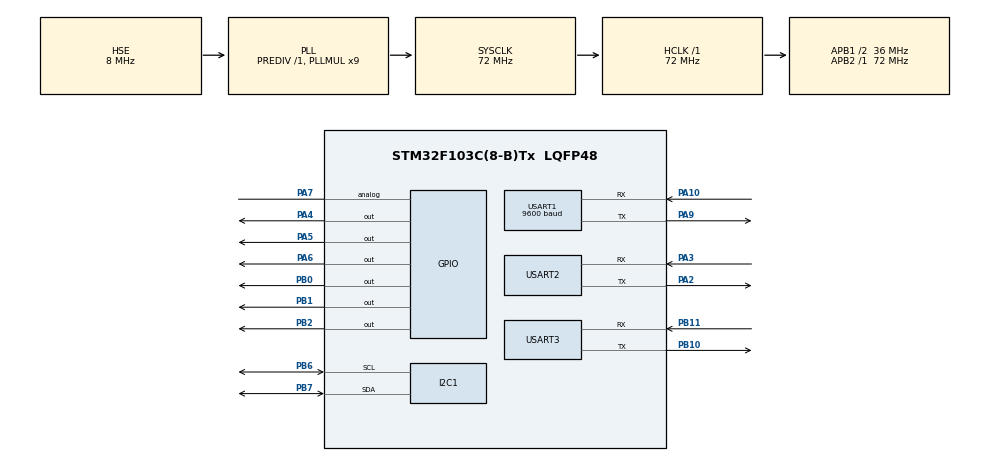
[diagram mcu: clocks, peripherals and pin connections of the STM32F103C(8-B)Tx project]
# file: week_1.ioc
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I2C1.I2C_Mode=I2C_Fast
Mcu.Family=STM32F1
Mcu.Name=STM32F103C(8-B)Tx
Mcu.Package=LQFP48
NVIC.PriorityGroup=NVIC_PRIORITYGROUP_4
NVIC.TIM1_UP_IRQn=true\:1\:0\:true\:false\:true\:true\:true
NVIC.USART1_IRQn=true\:2\:0\:true\:false\:true\:true\:true
PA10.Mode=Asynchronous
PA10.Signal=USART1_RX
PA13.Mode=Serial_Wire
PA13.Signal=SYS_JTMS-SWDIO
PA14.Mode=Serial_Wire
PA14.Signal=SYS_JTCK-SWCLK
PA2.Mode=Asynchronous
PA2.Signal=USART2_TX
PA3.Mode=Asynchronous
PA3.Signal=USART2_RX
PA4.Signal=GPIO_Output
PA5.Signal=GPIO_Output
PA6.Signal=GPIO_Output
PA7.Signal=GPIO_Analog
PA9.Mode=Asynchronous
PA9.Signal=USART1_TX
PB0.Signal=GPIO_Output
PB1.Signal=GPIO_Output
PB10.Mode=Asynchronous
PB10.Signal=USART3_TX
PB11.Mode=Asynchronous
PB11.Signal=USART3_RX
PB2.Signal=GPIO_Output
PB6.Mode=I2C
PB6.Signal=I2C1_SCL
PB7.Mode=I2C
PB7.Signal=I2C1_SDA
PC14-OSC32_IN.Mode=LSE-External-Oscillator
PC14-OSC32_IN.Signal=RCC_OSC32_IN
PC15-OSC32_OUT.Mode=LSE-External-Oscillator
PC15-OSC32_OUT.Signal=RCC_OSC32_OUT
PD0-OSC_IN.Mode=HSE-External-Oscillator
PD0-OSC_IN.Signal=RCC_OSC_IN
PD1-OSC_OUT.Mode=HSE-External-Oscillator
PD1-OSC_OUT.Signal=RCC_OSC_OUT
ProjectManager.HeapSize=0x200
ProjectManager.StackSize=0x400
ProjectManager.TargetToolchain=MDK-ARM V5.27
RCC.AHBFreq_Value=72000000
RCC.APB1CLKDivider=RCC_HCLK_DIV2
RCC.APB1Freq_Value=36000000
RCC.APB1TimFreq_Value=72000000
RCC.APB2Freq_Value=72000000
RCC.APB2TimFreq_Value=72000000
RCC.HCLKFreq_Value=72000000
RCC.PLLMUL=RCC_PLL_MUL9
RCC.PLLSourceVirtual=RCC_PLLSOURCE_HSE
RCC.SYSCLKFreq_VALUE=72000000
RCC.SYSCLKSource=RCC_SYSCLKSOURCE_PLLCLK
RCC.USBFreq_Value=72000000
USART1.BaudRate=9600
USART1.VirtualMode=VM_ASYNC
USART2.VirtualMode=VM_ASYNC
USART3.VirtualMode=VM_ASYNC
VP_TIM1_VS_ClockSourceINT.Mode=Internal
board=custom

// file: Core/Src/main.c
/* USER CODE BEGIN Header */
/**
  ******************************************************************************
  * @file           : main.c
  * @brief          : Main program body
  ******************************************************************************
  * @attention
  *
  * <h2><center>&copy; Copyright (c) 2021 STMicroelectronics.
  * All rights reserved.</center></h2>
  *
  * This software component is licensed by ST under Ultimate Liberty license
  * SLA0044, the "License"; You may not use this file except in compliance with
  * the License. You may obtain a copy of the License at:
  *                             www.st.com/SLA0044
  *
  ******************************************************************************
  */
/* USER CODE END Header */
#include "main.h"
#include "i2c.h"
#include "tim.h"
#include "usart.h"
#include "gpio.h"

/* USER CODE BEGIN PV */

//全局变量
short Degree_Mutex = 1;//角度互斥
float Degree;//横杆角度
short Distance_Mutex = 1;//距离互斥
int Distance;//小球实际距离
short SetDistance_Mutex = 1;//目标距离互斥
int SetDistance;//小球目标距离
char usartScreenSend[50] = {0};//串口屏发送缓冲区
char usartScreenReceive[50] = {0};//串口屏接收缓冲区
char usartDistanceReceive[20] = {0};//OpenMV接收缓冲
char usartMotorSend[20] = {0};//电机控制缓冲区

/* USER CODE END PV */

void SystemClock_Config(void);

int main(void)
{

  /* MCU Configuration--------------------------------------------------------*/

  /* Reset of all peripherals, Initializes the Flash interface and the Systick. */
  HAL_Init();

  /* Configure the system clock */
  SystemClock_Config();

  /* Initialize all configured peripherals */
  MX_GPIO_Init();
  MX_I2C1_Init();
  MX_USART1_UART_Init();
  MX_USART2_UART_Init();
  MX_USART3_UART_Init();
  MX_TIM1_Init();
  /* USER CODE BEGIN 2 */
  mpu_dmp_init();
  HAL_TIM_Base_Start_IT(&htim1);
  /* USER CODE END 2 */

  /* Infinite loop */
  /* USER CODE BEGIN WHILE */
	while (1)
	{
		sendDegree();
		sendDistance();
		sendSetDistance();
		drawWaves();

    /* USER CODE END WHILE */

	}
}

void SystemClock_Config(void)
{
  RCC_OscInitTypeDef RCC_OscInitStruct = {0};
  RCC_ClkInitTypeDef RCC_ClkInitStruct = {0};

  /** Initializes the RCC Oscillators according to the specified parameters
  * in the RCC_OscInitTypeDef structure.
  */
  RCC_OscInitStruct.OscillatorType = RCC_OSCILLATORTYPE_HSE;
  RCC_OscInitStruct.HSEState = RCC_HSE_ON;
  RCC_OscInitStruct.HSEPredivValue = RCC_HSE_PREDIV_DIV1;
  RCC_OscInitStruct.HSIState = RCC_HSI_ON;
  RCC_OscInitStruct.PLL.PLLState = RCC_PLL_ON;
  RCC_OscInitStruct.PLL.PLLSource = RCC_PLLSOURCE_HSE;
  RCC_OscInitStruct.PLL.PLLMUL = RCC_PLL_MUL9;
  if (HAL_RCC_OscConfig(&RCC_OscInitStruct) != HAL_OK)
  {
    Error_Handler();
  }
  /** Initializes the CPU, AHB and APB buses clocks
  */
  RCC_ClkInitStruct.ClockType = RCC_CLOCKTYPE_HCLK|RCC_CLOCKTYPE_SYSCLK
                              |RCC_CLOCKTYPE_PCLK1|RCC_CLOCKTYPE_PCLK2;
  RCC_ClkInitStruct.SYSCLKSource = RCC_SYSCLKSOURCE_PLLCLK;
  RCC_ClkInitStruct.AHBCLKDivider = RCC_SYSCLK_DIV1;
  RCC_ClkInitStruct.APB1CLKDivider = RCC_HCLK_DIV2;
  RCC_ClkInitStruct.APB2CLKDivider = RCC_HCLK_DIV1;

  if (HAL_RCC_ClockConfig(&RCC_ClkInitStruct, FLASH_LATENCY_2) != HAL_OK)
  {
    Error_Handler();
  }
}

void Error_Handler(void)
{
  __disable_irq();
  while (1)
  {
  }
}

/************************ (C) COPYRIGHT STMicroelectronics *****END OF FILE****/
